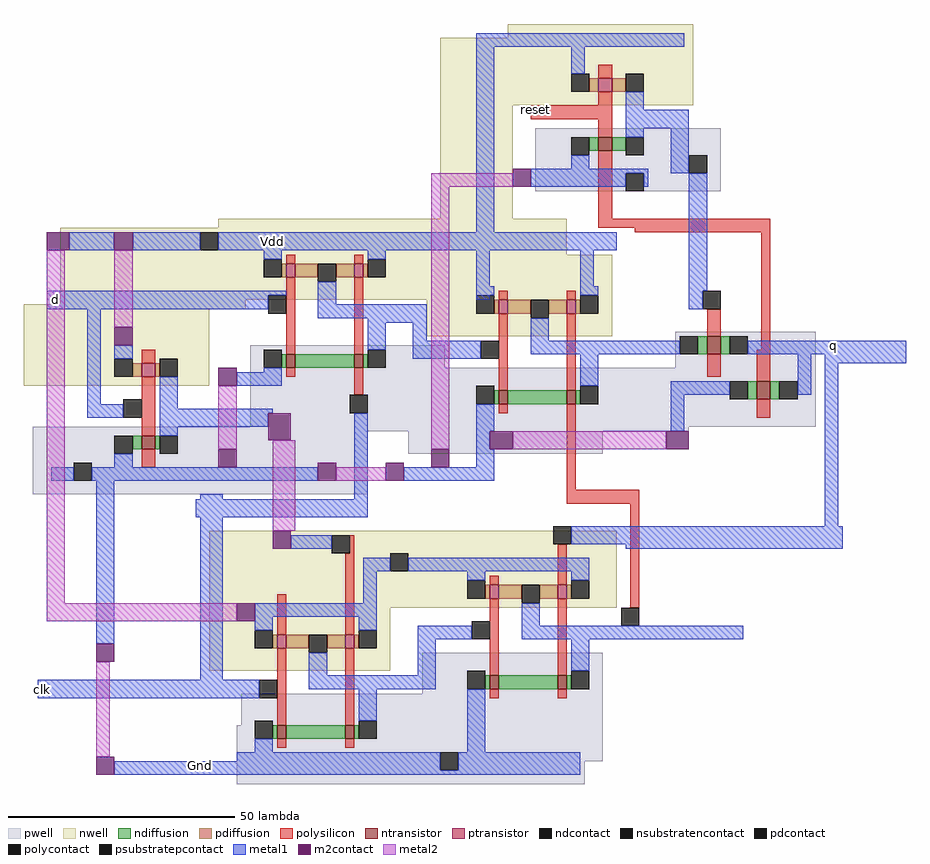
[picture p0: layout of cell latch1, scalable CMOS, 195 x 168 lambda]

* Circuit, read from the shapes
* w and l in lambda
.subckt latch1 Gnd Vdd clk d q reset
M1 n1 d Gnd Gnd nfet w=3 l=3
M2 n2 clk Gnd Gnd nfet w=3 l=2
M3 n3 d Gnd Gnd nfet w=3 l=2
M4 n4 n1 n2 Gnd nfet w=3 l=2
M5 n5 clk n3 Gnd nfet w=3 l=2
M6 n6 n4 Gnd Gnd nfet w=3 l=2
M7 n7 n5 Gnd Gnd nfet w=3 l=2
M8 n8 q n6 Gnd nfet w=3 l=2
M9 n9 n8 n7 Gnd nfet w=3 l=2
M10 n10 reset Gnd Gnd nfet w=3 l=3
M11 q n10 n9 Gnd nfet w=4 l=3
M12 q reset Gnd Gnd nfet w=4 l=3
M13 n1 d Vdd Vdd pfet w=3 l=3
M14 n4 clk Vdd Vdd pfet w=3 l=2
M15 n5 d Vdd Vdd pfet w=3 l=2
M16 Vdd n1 n4 Vdd pfet w=3 l=2
M17 Vdd clk n5 Vdd pfet w=3 l=2
M18 n8 n4 Vdd Vdd pfet w=3 l=2
M19 n9 n5 Vdd Vdd pfet w=3 l=2
M20 Vdd q n8 Vdd pfet w=3 l=2
M21 Vdd n8 n9 Vdd pfet w=3 l=2
M22 n10 reset Vdd Vdd pfet w=3 l=3
.ends

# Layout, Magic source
magic
tech scmos
<< pwell >>
rect 38 44 79 58
rect -25 5 18 10
rect 69 5 100 13
rect -25 -8 100 5
rect -73 -9 72 -8
rect -73 -23 1 -9
rect 10 -14 53 -9
rect 13 -67 53 -58
rect -27 -74 53 -67
rect -28 -82 53 -74
rect -28 -87 49 -82
<< nwell >>
rect 32 78 73 81
rect 17 63 73 78
rect 17 38 33 63
rect -32 36 45 38
rect -67 30 45 36
rect -67 20 55 30
rect -67 19 -26 20
rect -75 18 -26 19
rect -75 1 -34 18
rect 14 12 55 20
rect -34 -48 56 -31
rect -34 -62 6 -48
<< polysilicon >>
rect 52 69 55 72
rect 52 63 55 66
rect 37 60 55 63
rect 52 56 55 60
rect 52 38 55 53
rect 52 36 90 38
rect 60 35 90 36
rect 76 12 79 18
rect -49 6 -46 9
rect 88 9 90 35
rect 76 3 79 8
rect -49 -10 -46 3
rect -2 -1 0 3
rect 87 2 90 9
rect -49 -17 -46 -13
rect 45 -22 47 -5
rect 87 -6 90 -2
rect 45 -25 61 -22
rect -3 -36 -2 -32
rect -19 -52 -17 -45
rect -4 -52 -2 -36
rect 43 -41 45 -34
rect 59 -48 61 -25
<< ndiffusion >>
rect 50 53 52 56
rect 55 53 58 56
rect 74 8 76 12
rect 79 8 81 12
rect 85 -2 87 2
rect 90 -2 92 2
rect -51 -13 -49 -10
rect -46 -13 -45 -10
<< pdiffusion >>
rect 50 66 52 69
rect 55 66 58 69
rect -51 3 -49 6
rect -46 3 -45 6
<< metal1 >>
rect 25 76 71 79
rect 25 35 29 76
rect 46 70 49 76
rect 58 62 62 66
rect 58 58 72 62
rect 58 56 62 58
rect 46 49 50 52
rect 37 48 63 49
rect 68 48 72 58
rect 37 45 58 48
rect 62 45 63 48
rect -65 31 -55 35
rect -51 31 -36 35
rect -32 31 56 35
rect -22 29 -18 31
rect 1 29 5 31
rect -70 21 -17 22
rect -70 18 -21 21
rect -61 -3 -58 18
rect 25 20 28 31
rect 48 21 51 31
rect 72 22 76 48
rect 5 15 14 19
rect 72 18 75 22
rect -55 7 -51 10
rect 11 11 14 15
rect 11 7 26 11
rect 53 8 70 11
rect 85 8 120 11
rect -61 -6 -53 -3
rect -45 -4 -41 3
rect -28 1 -18 4
rect 68 -1 81 2
rect -45 -5 -20 -4
rect -45 -8 -21 -5
rect -45 -10 -41 -8
rect -69 -20 -64 -17
rect -55 -17 -51 -14
rect -60 -20 -10 -17
rect -59 -56 -55 -20
rect -36 -24 -31 -23
rect -2 -24 1 -5
rect 25 -9 29 -5
rect 68 -9 71 -1
rect 96 -1 99 8
rect 102 6 120 8
rect 25 -13 28 -9
rect 25 -17 29 -13
rect 9 -20 29 -17
rect -37 -28 1 -24
rect -36 -64 -31 -28
rect 102 -30 105 6
rect -16 -35 -7 -32
rect 46 -34 106 -30
rect 58 -35 106 -34
rect 0 -40 6 -37
rect 10 -40 50 -37
rect 0 -47 3 -40
rect 23 -41 27 -40
rect 46 -41 50 -40
rect -24 -50 3 -47
rect -24 -53 -20 -50
rect -1 -53 3 -50
rect 12 -55 24 -52
rect 51 -55 84 -52
rect 12 -63 16 -55
rect -72 -68 -23 -64
rect 4 -66 16 -63
rect -24 -80 -20 -79
rect 23 -80 27 -68
rect -28 -82 17 -80
rect -55 -84 17 -82
rect 21 -84 48 -80
rect -55 -85 48 -84
<< metal2 >>
rect 15 45 33 48
rect -70 -47 -66 31
rect -55 14 -51 31
rect -32 -13 -28 1
rect -20 -31 -15 -11
rect 15 -13 19 45
rect 33 -13 67 -9
rect -6 -20 5 -17
rect -70 -51 -28 -47
rect -59 -81 -56 -60
<< ntransistor >>
rect 52 53 55 56
rect 76 8 79 12
rect 87 -2 90 2
rect -49 -13 -46 -10
<< ptransistor >>
rect 52 66 55 69
rect -49 3 -46 6
<< polycontact >>
rect 72 48 76 52
rect -21 17 -17 21
rect 75 18 79 22
rect 26 7 30 11
rect -53 -6 -49 -2
rect -3 -5 1 -1
rect -7 -36 -3 -32
rect 42 -34 46 -30
rect 24 -55 28 -51
rect 57 -52 61 -48
rect -23 -68 -19 -64
<< ndcontact >>
rect 46 52 50 56
rect 58 52 62 56
rect 70 8 74 12
rect 81 8 85 12
rect 81 -2 85 2
rect 92 -2 96 2
rect -55 -14 -51 -10
rect -45 -14 -41 -10
<< pdcontact >>
rect 46 66 50 70
rect 58 66 62 70
rect -55 3 -51 7
rect -45 3 -41 7
<< m2contact >>
rect 33 45 37 49
rect -70 31 -65 35
rect -55 31 -51 35
rect -55 10 -51 14
rect -32 1 -28 5
rect -21 -11 -16 -5
rect -32 -17 -28 -13
rect -10 -20 -6 -16
rect 28 -13 33 -9
rect 67 -13 72 -9
rect 5 -20 9 -16
rect 15 -17 19 -13
rect -59 -60 -55 -56
rect -20 -35 -16 -31
rect -28 -51 -24 -47
rect -59 -85 -55 -81
<< psubstratepcontact >>
rect 58 44 62 48
rect -64 -20 -60 -16
rect 17 -84 21 -80
<< nsubstratencontact >>
rect -36 31 -32 35
rect 6 -40 10 -36
use nand  nand_0
transform 1 0 -9 0 1 10
box -13 -7 15 21
use nand  nand_1
transform 1 0 38 0 1 2
box -13 -7 15 21
use nand  nand_2
transform 1 0 -11 0 1 -72
box -13 -7 15 21
use nand  nand_3
transform 1 0 36 0 1 -61
box -13 -7 15 21
<< labels >>
rlabel metal1 -71 -66 -71 -66 3 clk
rlabel polysilicon 38 62 38 62 1 reset
rlabel metal1 -68 20 -68 20 3 d
rlabel metal1 104 10 104 10 7 q
rlabel metal1 -20 33 -20 33 1 Vdd
rlabel metal1 -36 -83 -36 -83 1 Gnd
<< end >>

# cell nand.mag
magic
tech scmos
<< polysilicon >>
rect -8 18 -6 20
rect 7 18 9 20
rect -8 -2 -6 15
rect 7 -2 9 15
rect -8 -7 -6 -5
rect 7 -7 9 -5
<< ndiffusion >>
rect -9 -5 -8 -2
rect -6 -5 7 -2
rect 9 -5 10 -2
<< pdiffusion >>
rect -9 15 -8 18
rect -6 15 -1 18
rect 3 15 7 18
rect 9 15 10 18
<< metal1 >>
rect -13 19 -9 21
rect 10 19 14 21
rect -1 9 3 14
rect -1 6 15 9
rect 10 -1 14 6
rect -13 -7 -9 -5
<< ntransistor >>
rect -8 -5 -6 -2
rect 7 -5 9 -2
<< ptransistor >>
rect -8 15 -6 18
rect 7 15 9 18
<< ndcontact >>
rect -13 -5 -9 -1
rect 10 -5 14 -1
<< pdcontact >>
rect -13 15 -9 19
rect -1 14 3 18
rect 10 15 14 19
<< end >>
